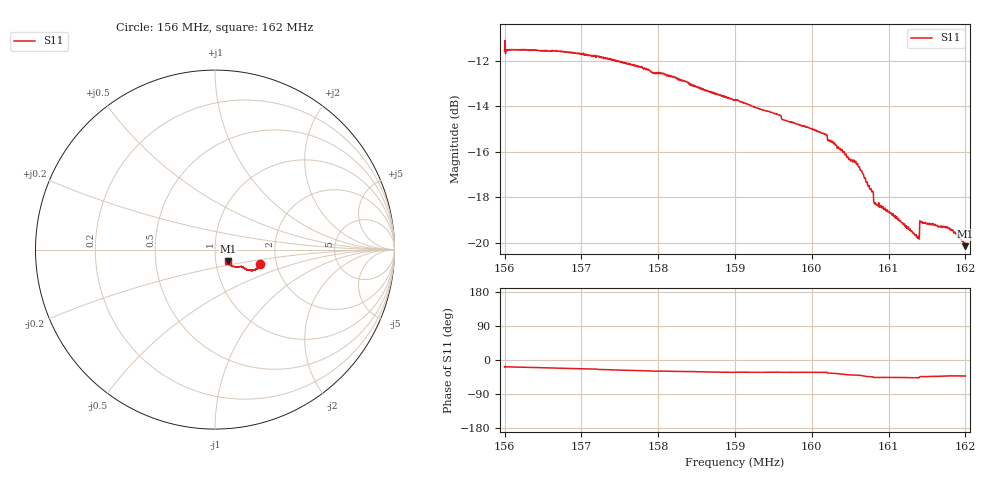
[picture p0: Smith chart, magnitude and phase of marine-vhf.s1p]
! Calibrated averaged scanner-service zoom
# Hz S RI R 50
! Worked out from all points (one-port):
!   1001 points, 156 MHz to 162 MHz, reference 50 ohm
!   lowest |S11| = -20.1 dB at 162 MHz (marker M1), VSWR 1.22, Z = 57.3 - j7.65 ohm
!   |S11| at or under -10 dB: start of sweep to end of sweep
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1.56e8  0.2503 -0.083
1.5675e8  0.2453 -0.0974
1.5723e8  0.232 -0.108
1.575e8  0.2236 -0.112
1.57764e8  0.2151 -0.1154
1.57932e8  0.2054 -0.1159
1.58046e8  0.2057 -0.1167
1.5825e8  0.199 -0.1155
1.58574e8  0.1867 -0.1129
1.59e8  0.1735 -0.1112
1.5957e8  0.1618 -0.1015
1.59636e8  0.1569 -0.1004
1.5975e8  0.1548 -0.0988
1.6017e8  0.1459 -0.0933
1.60236e8  0.1374 -0.0952
1.60392e8  0.1276 -0.0961
1.605e8  0.1181 -0.0967
1.60572e8  0.1161 -0.0969
1.60644e8  0.1088 -0.0948
1.6077e8  0.0939 -0.0921
1.60836e8  0.0843 -0.087
1.61028e8  0.0804 -0.0837
1.6125e8  0.0742 -0.0778
1.6137e8  0.0701 -0.0754
1.61436e8  0.08 -0.0772
1.61754e8  0.08 -0.0732
1.61856e8  0.0783 -0.0708
1.62e8  0.0728 -0.0661
